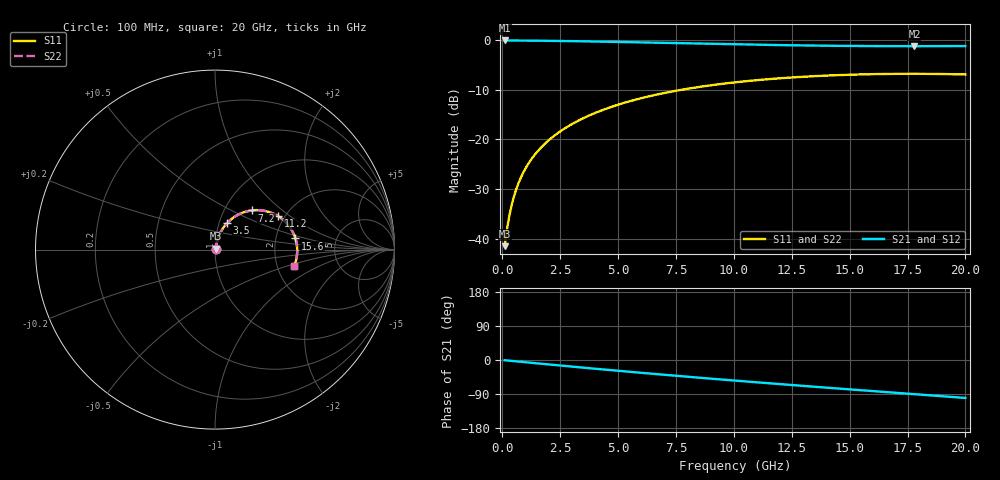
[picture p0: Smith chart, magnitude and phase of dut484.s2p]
! Touchstone file exported from HFSS 2026.1.0
!  File:  C:/ffzhzh/LocalFiles/Ansys_Project_Files/temp_train_TSV_RDL_484_1783104811_37876.aedt
!  Generated:  03:06:28 AM Jul  4, 2026
!  Design:  TSV_RDL
!  Project:  temp_train_TSV_RDL_484_1783104811_37876
! Variables:
!  h_bsmrdl = 4.04um
!  h_ox = 20um
!  h_rdl = 5um
!  h_sub = 60.23um
!  h_tmrdl = 5.83um
!  h_tsv = 60.23um
!  h_via = 3um
!  l_bsmrdl = 114.92um
!  l_sub = 1785.52um
!  l_tmrdl = 229.8um
!  m_sub = 200um
!  pitch = 45.53um
!  r_tsv = 6.21um
!  s_tmrdl = 10um
!  w_bsmrdl = 14.71um
!  w_sub = 500um
!  w_tmrdl = 25.81um
!  x_tsv_center1 = 242.705um
!  x_tsv_center2 = 372.335um
!  x_tsv_center3 = 627.945um
!  x_tsv_center4 = 757.575um
!  x_tsv_center5 = 1013.185um
!  x_tsv_center6 = 1142.815um
# GHz S MA R 50.000000
! Terminal data exported
! Port[1] = TM_RDL1_1_T1
! Port[2] = TM_RDL5_1_T1
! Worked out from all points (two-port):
!   200 points, 100 MHz to 20 GHz, reference 50 ohm
!   highest |S21| = -0.06 dB at 100 MHz (marker M1); lowest = -1.2 dB at 17.8 GHz (marker M2)
!   |S21| within 3 dB of the highest: start of sweep to end of sweep
!   lowest |S11| = -41.5 dB at 100 MHz (marker M3), VSWR 1.02, Z = 50.7 + j0.534 ohm
!   |S11| at or under -10 dB: start of sweep to 7.745 GHz
!   |S22| runs from -41.5 to -6.8 dB; largest |S21 - S12| = 7.6e-14
!   S11 on the Smith chart (normalised r, x): 100 MHz: 1.01, +0.01; 3.5 GHz: 1.09, +0.33; 7.2 GHz: 1.34, +0.64; 11.2 GHz: 1.86, +0.82; 15.6 GHz: 2.58, +0.40; 20 GHz: 2.49, -0.56
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0.1  0.008372 39.0  0.9935 -0.6  0.9935 -0.6  0.008372 39.0
! Gamma 0 0 0 0
! Port Impedance 50 0 50 0
0.2  0.01224 57.7  0.9932 -1.2  0.9932 -1.2  0.01224 57.7
0.3  0.01677 66.1  0.9929 -1.8  0.9929 -1.8  0.01677 66.1
0.4  0.02152 70.4  0.9925 -2.4  0.9925 -2.4  0.02152 70.4
0.5  0.02637 72.8  0.9921 -3.0  0.9921 -3.0  0.02637 72.8
0.6  0.03126 74.1  0.9917 -3.6  0.9917 -3.6  0.03126 74.1
0.8  0.04103 75.3  0.9909 -4.8  0.9909 -4.8  0.04104 75.3
1.1  0.05556 75.5  0.9898 -6.5  0.9898 -6.5  0.05556 75.5
1.5  0.07455 74.4  0.9879 -8.8  0.9879 -8.8  0.07455 74.4
2.1  0.1022 72.0  0.9846 -12.3  0.9846 -12.3  0.1022 72.0
2.7  0.1291 69.3  0.9804 -15.7  0.9804 -15.7  0.1291 69.3
3.5  0.1635 65.3  0.974 -20.2  0.974 -20.2  0.1635 65.3
5  0.2236 57.8  0.9599 -28.5  0.9599 -28.5  0.2236 57.8
6.8  0.287 48.7  0.9413 -38.0  0.9413 -38.0  0.287 48.7
7.2  0.2997 46.7  0.937 -40.1  0.937 -40.1  0.2997 46.7
10.1  0.3768 32.8  0.9078 -54.6  0.9078 -54.6  0.3768 32.8
11.2  0.3992 27.6  0.8981 -59.9  0.8981 -59.9  0.3991 27.6
13.4  0.4328 17.6  0.8824 -70.2  0.8824 -70.2  0.4328 17.6
15.6  0.4523 7.9  0.8727 -80.3  0.8727 -80.3  0.4523 7.9
16.7  0.457 3.1  0.8702 -85.2  0.8702 -85.2  0.457 3.1
17.8  0.4583 -1.7  0.8694 -90.2  0.8694 -90.2  0.4582 -1.7
20  0.4508 -11.4  0.8729 -100.2  0.8729 -100.2  0.4508 -11.4
